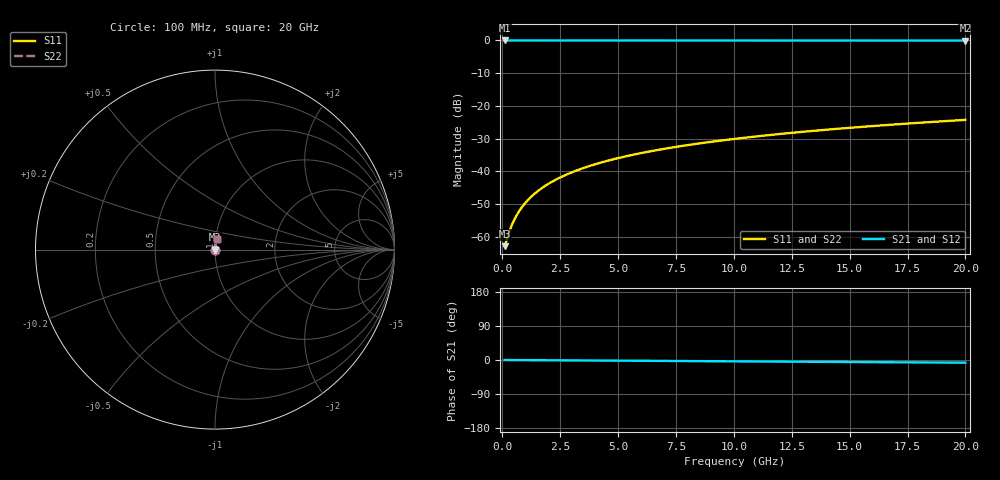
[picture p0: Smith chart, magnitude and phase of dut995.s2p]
! Touchstone file exported from HFSS 2026.1.0
!  File:  C:/ffzhzh/LocalFiles/Ansys_Project_Files/temp_train_TSV_995_1783188289_43440.aedt
!  Generated:  02:06:38 AM Jul  5, 2026
!  Design:  TSV
!  Project:  temp_train_TSV_995_1783188289_43440
! Variables:
!  h_bsmrdl = 2um
!  h_ox = 20um
!  h_rdl = 5um
!  h_sub = 59.3um
!  h_tmrdl = 5um
!  h_tsv = 59.3um
!  h_via = 3um
!  l_bsmrdl = 300um
!  l_sub = 406.7um
!  l_tmrdl = 200um
!  m_sub = 200um
!  pitch = 31.23um
!  r_tsv = 3.35um
!  s_tmrdl = 10um
!  w_bsmrdl = 18um
!  w_sub = 500um
!  w_tmrdl = 12um
!  x_tsv_center1 = 206um
!  x_tsv_center2 = 524um
!  x_tsv_center3 = 736um
!  x_tsv_center4 = 1054um
!  x_tsv_center5 = 1266um
!  x_tsv_center6 = 1584um
# GHz S MA R 50.000000
! Terminal data exported
! Port[1] = TSV1_1_T1
! Port[2] = TSV1_1_T2
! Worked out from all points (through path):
!   200 points, 100 MHz to 20 GHz, reference 50 ohm
!   highest |S21| = -0.01 dB at 100 MHz (marker M1); lowest = 0.0 dB at 20 GHz (marker M2)
!   lowest |S11| = -62.8 dB at 100 MHz (marker M3), VSWR 1.00, Z = 50.1 + j0.0336 ohm
!   |S11| at or under -10 dB: start of sweep to end of sweep
!   |S22| runs from -62.8 to -24.3 dB; largest |S21 - S12| = 2.5e-15
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0.1  0.0007203 27.7  0.9994 -0.0  0.9994 -0.0  0.0007203 27.7
! Gamma 0 0 0 0
! Port Impedance 50 0 50 0
0.3  0.001191 56.4  0.9993 -0.1  0.9993 -0.1  0.001191 56.4
0.4  0.001475 63.0  0.9993 -0.1  0.9993 -0.1  0.001475 63.0
0.5  0.001771 67.5  0.9993 -0.2  0.9993 -0.2  0.001771 67.5
0.6  0.002073 70.6  0.9993 -0.2  0.9993 -0.2  0.002073 70.6
0.7  0.002379 73.0  0.9993 -0.3  0.9993 -0.3  0.002379 73.0
0.9  0.003001 76.3  0.9993 -0.3  0.9993 -0.3  0.003001 76.3
1.2  0.003944 79.2  0.9993 -0.4  0.9993 -0.4  0.003944 79.2
1.4  0.004577 80.4  0.9993 -0.5  0.9993 -0.5  0.004577 80.4
1.7  0.00553 81.7  0.9992 -0.6  0.9992 -0.6  0.00553 81.7
2.2  0.00712 82.9  0.9992 -0.8  0.9992 -0.8  0.00712 82.9
2.8  0.009025 83.7  0.9991 -1.0  0.9991 -1.0  0.009025 83.7
3.5  0.01124 84.2  0.999 -1.3  0.999 -1.3  0.01124 84.2
4.2  0.01344 84.3  0.9989 -1.5  0.9989 -1.5  0.01344 84.3
5  0.01594 84.4  0.9988 -1.8  0.9988 -1.8  0.01594 84.4
5.9  0.01874 84.3  0.9986 -2.1  0.9986 -2.1  0.01874 84.3
6.8  0.02151 84.1  0.9985 -2.4  0.9985 -2.4  0.02151 84.1
8.3  0.0261 83.9  0.9982 -3.0  0.9982 -3.0  0.0261 83.9
10.1  0.03156 83.4  0.9979 -3.6  0.9979 -3.6  0.03156 83.4
13.4  0.0415 82.6  0.9972 -4.7  0.9972 -4.7  0.0415 82.6
16.7  0.05138 81.7  0.9965 -5.9  0.9965 -5.9  0.05138 81.7
20  0.0612 80.8  0.9958 -7.0  0.9958 -7.0  0.0612 80.8
